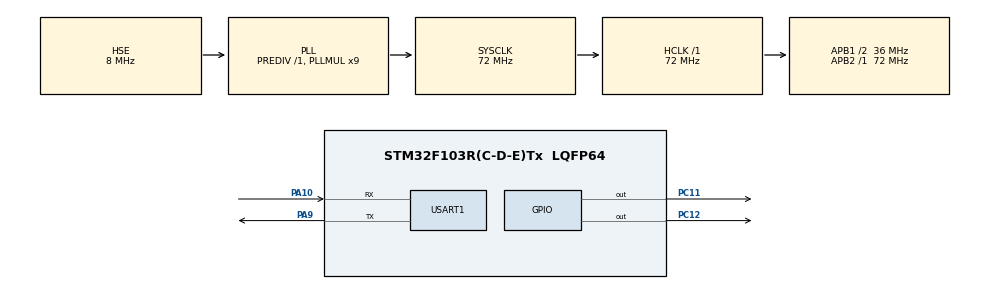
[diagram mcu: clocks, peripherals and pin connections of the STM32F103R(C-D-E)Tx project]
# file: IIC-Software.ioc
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Mcu.Family=STM32F1
Mcu.Name=STM32F103R(C-D-E)Tx
Mcu.Package=LQFP64
NVIC.PriorityGroup=NVIC_PRIORITYGROUP_4
PA10.Mode=Asynchronous
PA10.Signal=USART1_RX
PA13.Mode=Serial_Wire
PA13.Signal=SYS_JTMS-SWDIO
PA14.Mode=Serial_Wire
PA14.Signal=SYS_JTCK-SWCLK
PA9.Mode=Asynchronous
PA9.Signal=USART1_TX
PC11.Signal=GPIO_Output
PC12.GPIO_PuPd=GPIO_PULLUP
PC12.Signal=GPIO_Output
PD0-OSC_IN.Mode=HSE-External-Oscillator
PD0-OSC_IN.Signal=RCC_OSC_IN
PD1-OSC_OUT.Mode=HSE-External-Oscillator
PD1-OSC_OUT.Signal=RCC_OSC_OUT
ProjectManager.HeapSize=0x200
ProjectManager.StackSize=0x400
ProjectManager.TargetToolchain=MDK-ARM V5.27
RCC.AHBFreq_Value=72000000
RCC.APB1CLKDivider=RCC_HCLK_DIV2
RCC.APB1Freq_Value=36000000
RCC.APB1TimFreq_Value=72000000
RCC.APB2Freq_Value=72000000
RCC.APB2TimFreq_Value=72000000
RCC.HCLKFreq_Value=72000000
RCC.PLLMUL=RCC_PLL_MUL9
RCC.PLLSourceVirtual=RCC_PLLSOURCE_HSE
RCC.SYSCLKFreq_VALUE=72000000
RCC.SYSCLKSource=RCC_SYSCLKSOURCE_PLLCLK
RCC.USBFreq_Value=72000000
USART1.VirtualMode=VM_ASYNC
board=custom

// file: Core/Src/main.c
/* USER CODE BEGIN Header */
/**
  ******************************************************************************
  * @file           : main.c
  * @brief          : Main program body
  ******************************************************************************
  * @attention
  *
  * <h2><center>&copy; Copyright (c) 2025 STMicroelectronics.
  * All rights reserved.</center></h2>
  *
  * This software component is licensed by ST under BSD 3-Clause license,
  * the "License"; You may not use this file except in compliance with the
  * License. You may obtain a copy of the License at:
  *                        opensource.org/licenses/BSD-3-Clause
  *
  ******************************************************************************
  */
/* USER CODE END Header */
#include "main.h"
#include "usart.h"
#include "gpio.h"

/* USER CODE BEGIN Includes */
#include "24cxx.h"
/* USER CODE END Includes */

/* USER CODE BEGIN PM */

//要写入到24c02的字符串数组
#define SIZE sizeof(TEXT_Buffer)

/* USER CODE END PM */

/* USER CODE BEGIN PV */

const u8 TEXT_Buffer[]={"MiniSTM32 Software IIC TEST by DCR"};

/* USER CODE END PV */

void SystemClock_Config(void);

int main(void)
{
  /* USER CODE BEGIN 1 */
	u8 datatemp[SIZE];
  /* USER CODE END 1 */

  /* MCU Configuration--------------------------------------------------------*/

  /* Reset of all peripherals, Initializes the Flash interface and the Systick. */
  HAL_Init();

  /* Configure the system clock */
  SystemClock_Config();

  /* Initialize all configured peripherals */
  MX_GPIO_Init();
  MX_USART1_UART_Init();
  /* USER CODE BEGIN 2 */

	AT24CXX_Init();			//IIC初始化
	while(AT24CXX_Check())//检测不到24c02
	{
		printf("24C02 Check Failed!\r\n");
		delay_us(50000);
		printf("Please Check!      \r\n");
		delay_us(50000);
	}
	printf("24C02 Check Succeed!\r\n");

	delay_us(50000); // 延时 50 ms
	printf("Start Write 24C02....\r\n");
	AT24CXX_Write(0,(u8*)TEXT_Buffer,SIZE);
	printf("24C02 Write Finished!\r\n");//提示传输完成

	delay_us(50000); // 延时 50 ms
	printf("Start Read 24C02.... \r\n");
	AT24CXX_Read(0,datatemp,SIZE);
	printf("The Data Readed Is:  \r\n");//提示传送完成
	printf("%s \r\n", datatemp);//显示读到的字符串

  /* USER CODE END 2 */

  /* Infinite loop */
  while (1)
  {

  }
}

void SystemClock_Config(void)
{
  RCC_OscInitTypeDef RCC_OscInitStruct = {0};
  RCC_ClkInitTypeDef RCC_ClkInitStruct = {0};

  /** Initializes the RCC Oscillators according to the specified parameters
  * in the RCC_OscInitTypeDef structure.
  */
  RCC_OscInitStruct.OscillatorType = RCC_OSCILLATORTYPE_HSE;
  RCC_OscInitStruct.HSEState = RCC_HSE_ON;
  RCC_OscInitStruct.HSEPredivValue = RCC_HSE_PREDIV_DIV1;
  RCC_OscInitStruct.HSIState = RCC_HSI_ON;
  RCC_OscInitStruct.PLL.PLLState = RCC_PLL_ON;
  RCC_OscInitStruct.PLL.PLLSource = RCC_PLLSOURCE_HSE;
  RCC_OscInitStruct.PLL.PLLMUL = RCC_PLL_MUL9;
  if (HAL_RCC_OscConfig(&RCC_OscInitStruct) != HAL_OK)
  {
    Error_Handler();
  }
  /** Initializes the CPU, AHB and APB buses clocks
  */
  RCC_ClkInitStruct.ClockType = RCC_CLOCKTYPE_HCLK|RCC_CLOCKTYPE_SYSCLK
                              |RCC_CLOCKTYPE_PCLK1|RCC_CLOCKTYPE_PCLK2;
  RCC_ClkInitStruct.SYSCLKSource = RCC_SYSCLKSOURCE_PLLCLK;
  RCC_ClkInitStruct.AHBCLKDivider = RCC_SYSCLK_DIV1;
  RCC_ClkInitStruct.APB1CLKDivider = RCC_HCLK_DIV2;
  RCC_ClkInitStruct.APB2CLKDivider = RCC_HCLK_DIV1;

  if (HAL_RCC_ClockConfig(&RCC_ClkInitStruct, FLASH_LATENCY_2) != HAL_OK)
  {
    Error_Handler();
  }
}

void Error_Handler(void)
{
  __disable_irq();
  while (1)
  {
  }
}

/************************ (C) COPYRIGHT STMicroelectronics *****END OF FILE****/
